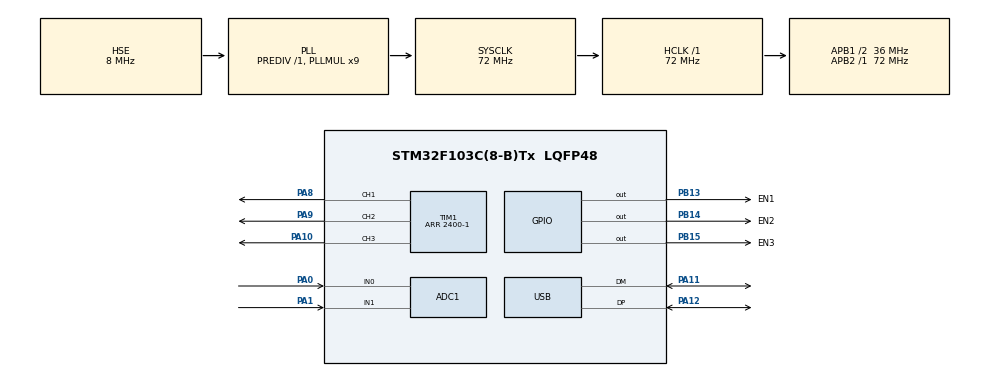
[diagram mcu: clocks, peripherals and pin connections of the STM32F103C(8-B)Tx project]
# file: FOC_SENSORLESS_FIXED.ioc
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ADC1.Channel-0\#ChannelRegularConversion=ADC_CHANNEL_0
ADC1.Channel-1\#ChannelRegularConversion=ADC_CHANNEL_1
ADC1.Channel-2\#ChannelRegularConversion=ADC_CHANNEL_VREFINT
ADC1.Channel-3\#ChannelInjectedConversion=ADC_CHANNEL_0
ADC1.Channel-5\#ChannelInjectedConversion=ADC_CHANNEL_1
ADC1.ContinuousConvMode=ENABLE
ADC1.EnableInjectedConversion=ENABLE
ADC1.ExternalTrigInjecConv=ADC_EXTERNALTRIGINJECCONV_T1_CC4
ADC1.InjNumberOfConversion=2
ADC1.InjectedConvMode=None
ADC1.InjectedOffset-3\#ChannelInjectedConversion=0
ADC1.InjectedOffset-5\#ChannelInjectedConversion=0
ADC1.InjectedRank-3\#ChannelInjectedConversion=1
ADC1.InjectedRank-5\#ChannelInjectedConversion=2
ADC1.NbrOfConversion=3
ADC1.NbrOfConversionFlag=1
ADC1.Rank-0\#ChannelRegularConversion=1
ADC1.Rank-1\#ChannelRegularConversion=2
ADC1.Rank-2\#ChannelRegularConversion=3
ADC1.SamplingTime-0\#ChannelRegularConversion=ADC_SAMPLETIME_41CYCLES_5
ADC1.SamplingTime-1\#ChannelRegularConversion=ADC_SAMPLETIME_41CYCLES_5
ADC1.SamplingTime-2\#ChannelRegularConversion=ADC_SAMPLETIME_41CYCLES_5
ADC1.SamplingTime-3\#ChannelInjectedConversion=ADC_SAMPLETIME_7CYCLES_5
ADC1.SamplingTime-5\#ChannelInjectedConversion=ADC_SAMPLETIME_7CYCLES_5
ADC1.master=1
Dma.ADC1.0.Direction=DMA_PERIPH_TO_MEMORY
Dma.ADC1.0.Instance=DMA1_Channel1
Dma.ADC1.0.MemDataAlignment=DMA_MDATAALIGN_HALFWORD
Dma.ADC1.0.MemInc=DMA_MINC_ENABLE
Dma.ADC1.0.Mode=DMA_NORMAL
Dma.ADC1.0.PeriphDataAlignment=DMA_PDATAALIGN_HALFWORD
Dma.ADC1.0.PeriphInc=DMA_PINC_DISABLE
Dma.ADC1.0.Priority=DMA_PRIORITY_LOW
Dma.Request0=ADC1
Mcu.Family=STM32F1
Mcu.Name=STM32F103C(8-B)Tx
Mcu.Package=LQFP48
NVIC.ADC1_2_IRQn=true\:0\:0\:false\:false\:true\:true\:true\:true
NVIC.DMA1_Channel1_IRQn=true\:1\:0\:true\:false\:true\:false\:true\:true
NVIC.PriorityGroup=NVIC_PRIORITYGROUP_4
NVIC.USB_LP_CAN1_RX0_IRQn=true\:1\:0\:true\:false\:true\:false\:true\:true
PA0-WKUP.Signal=ADCx_IN0
PA1.Signal=ADCx_IN1
PA10.Signal=S_TIM1_CH3
PA11.Mode=Device
PA11.Signal=USB_DM
PA12.Mode=Device
PA12.Signal=USB_DP
PA13.Mode=Serial_Wire
PA13.Signal=SYS_JTMS-SWDIO
PA14.Mode=Serial_Wire
PA14.Signal=SYS_JTCK-SWCLK
PA8.Signal=S_TIM1_CH1
PA9.Signal=S_TIM1_CH2
PB13.GPIO_Label=EN1
PB13.Signal=GPIO_Output
PB14.GPIO_Label=EN2
PB14.Signal=GPIO_Output
PB15.GPIO_Label=EN3
PB15.Signal=GPIO_Output
PC14-OSC32_IN.Mode=LSE-External-Oscillator
PC14-OSC32_IN.Signal=RCC_OSC32_IN
PC15-OSC32_OUT.Mode=LSE-External-Oscillator
PC15-OSC32_OUT.Signal=RCC_OSC32_OUT
PD0-OSC_IN.Mode=HSE-External-Oscillator
PD0-OSC_IN.Signal=RCC_OSC_IN
PD1-OSC_OUT.Mode=HSE-External-Oscillator
PD1-OSC_OUT.Signal=RCC_OSC_OUT
ProjectManager.HeapSize=0x200
ProjectManager.StackSize=0x400
ProjectManager.TargetToolchain=CMake
RCC.ADCPresc=RCC_ADCPCLK2_DIV6
RCC.AHBFreq_Value=72000000
RCC.APB1CLKDivider=RCC_HCLK_DIV2
RCC.APB1Freq_Value=36000000
RCC.APB1TimFreq_Value=72000000
RCC.APB2Freq_Value=72000000
RCC.APB2TimFreq_Value=72000000
RCC.HCLKFreq_Value=72000000
RCC.PLLMUL=RCC_PLL_MUL9
RCC.SYSCLKFreq_VALUE=72000000
RCC.SYSCLKSource=RCC_SYSCLKSOURCE_PLLCLK
RCC.USBFreq_Value=48000000
RCC.USBPrescaler=RCC_USBCLKSOURCE_PLL_DIV1_5
SH.ADCx_IN0.0=ADC1_IN0,IN0
SH.ADCx_IN1.0=ADC1_IN1,IN1
SH.S_TIM1_CH1.0=TIM1_CH1,PWM Generation1 CH1
SH.S_TIM1_CH2.0=TIM1_CH2,PWM Generation2 CH2
SH.S_TIM1_CH3.0=TIM1_CH3,PWM Generation3 CH3
TIM1.AutoReloadPreload=TIM_AUTORELOAD_PRELOAD_DISABLE
TIM1.Channel-PWM\ Generation1\ CH1=TIM_CHANNEL_1
TIM1.Channel-PWM\ Generation2\ CH2=TIM_CHANNEL_2
TIM1.Channel-PWM\ Generation3\ CH3=TIM_CHANNEL_3
TIM1.Channel-PWM\ Generation4\ No\ Output=TIM_CHANNEL_4
TIM1.CounterMode=TIM_COUNTERMODE_CENTERALIGNED1
TIM1.OCFastMode_PWM-PWM\ Generation1\ CH1=TIM_OCFAST_ENABLE
TIM1.OCFastMode_PWM-PWM\ Generation2\ CH2=TIM_OCFAST_ENABLE
TIM1.OCFastMode_PWM-PWM\ Generation3\ CH3=TIM_OCFAST_ENABLE
TIM1.OCFastMode_PWM-PWM\ Generation4\ No\ Output=TIM_OCFAST_ENABLE
TIM1.OCMode_PWM-PWM\ Generation1\ CH1=TIM_OCMODE_PWM2
TIM1.OCMode_PWM-PWM\ Generation2\ CH2=TIM_OCMODE_PWM2
TIM1.OCMode_PWM-PWM\ Generation3\ CH3=TIM_OCMODE_PWM2
TIM1.OCPolarity_1=TIM_OCPOLARITY_HIGH
TIM1.OCPolarity_2=TIM_OCPOLARITY_HIGH
TIM1.OCPolarity_3=TIM_OCPOLARITY_HIGH
TIM1.Period=2400-1
TIM1.Pulse-PWM\ Generation4\ No\ Output=1
TIM1.RepetitionCounter=0
TIM1.TIM_MasterOutputTrigger=TIM_TRGO_RESET
USB_DEVICE.CLASS_NAME_FS=CDC
USB_DEVICE.VirtualMode=Cdc
USB_DEVICE.VirtualModeFS=Cdc_FS
VP_ADC1_Vref_Input.Mode=IN-Vrefint
VP_TIM1_VS_ClockSourceINT.Mode=Internal
VP_TIM1_VS_no_output4.Mode=PWM Generation4 No Output
VP_USB_DEVICE_VS_USB_DEVICE_CDC_FS.Mode=CDC_FS
board=custom

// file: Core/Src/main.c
/* USER CODE BEGIN Header */
/**
  ******************************************************************************
  * @file           : main.c
  * @brief          : Main program body
  ******************************************************************************
  * @attention
  *
  * Copyright (c) 2026 STMicroelectronics.
  * All rights reserved.
  *
  * This software is licensed under terms that can be found in the LICENSE file
  * in the root directory of this software component.
  * If no LICENSE file comes with this software, it is provided AS-IS.
  *
  ******************************************************************************
  */
/* USER CODE END Header */
#include "main.h"
#include "adc.h"
#include "dma.h"
#include "tim.h"
#include "usb_device.h"
#include "gpio.h"

/* USER CODE BEGIN Includes */
#include "usbd_cdc_if.h"
#include "PMSM_Control_Core/FluxObserver_PLL.h"
#include "PMSM_Control_Core/Hardware.h"
#include "PMSM_Control_Core/PI_Controller.h"
#include "PMSM_Control_Core/SVPWM.h"
#include "PMSM_Control_Core/User_Parameters.h"
/* USER CODE END Includes */

void SystemClock_Config(void);

int main(void)
{

  /* MCU Configuration--------------------------------------------------------*/

  /* Reset of all peripherals, Initializes the Flash interface and the Systick. */
  HAL_Init();

  /* Configure the system clock */
  SystemClock_Config();

  /* Initialize all configured peripherals */
  MX_GPIO_Init();
  MX_DMA_Init();
  MX_ADC1_Init();
  MX_TIM1_Init();
  MX_USB_DEVICE_Init();
  /* USER CODE BEGIN 2 */

  //如果想看IF启动的波形，可以加个10秒延时，这样子来得及插上USB口，打开VOFA的开关接收信息
  //HAL_Delay(10000);

  FluxObserver_init();
  //ADC单端输入校准
  __HAL_RCC_ADC1_CLK_ENABLE();
  if (HAL_ADCEx_Calibration_Start(&hadc1) != HAL_OK)Error_Handler();
  //离线Ia,Ib,Vcc偏置ADC值校正
  Offline_IabVcc_Adjust();
  //给定D轴电流为0(事实上自动初始化为0，不需要人为给定)
  Id_PIstate.Set=Q15_FromValue(0,I);
  // 启动 TIM1 计数器
  HAL_TIM_Base_Start(&htim1);
  //开启定时器,开启通道输出
  HAL_TIM_PWM_Start(&htim1, TIM_CHANNEL_1);
  HAL_TIM_PWM_Start(&htim1, TIM_CHANNEL_2);
  HAL_TIM_PWM_Start(&htim1, TIM_CHANNEL_3);
  //PWM第四通道只用于触发ADC
  HAL_TIM_PWM_Start(&htim1, TIM_CHANNEL_4);
  //设定一个输出为0矢量的占空比
  TIM1_Set_PWMCompare(1200,1200,1200);

  // EN引脚使能
  HAL_GPIO_WritePin(EN1_GPIO_Port,EN1_Pin,GPIO_PIN_SET);
  HAL_GPIO_WritePin(EN2_GPIO_Port,EN2_Pin,GPIO_PIN_SET);
  HAL_GPIO_WritePin(EN3_GPIO_Port,EN3_Pin,GPIO_PIN_SET);
  //给定初始电转速1000rad/s
  Speed_PIstate.Set=Q15_FromValue(1000,we);
  // 启动ADC注入通道
  HAL_ADCEx_InjectedStart_IT(&hadc1);
  /* USER CODE END 2 */

  /* Infinite loop */
  while (1)
  {

  }
}

void SystemClock_Config(void)
{
  RCC_OscInitTypeDef RCC_OscInitStruct = {0};
  RCC_ClkInitTypeDef RCC_ClkInitStruct = {0};
  RCC_PeriphCLKInitTypeDef PeriphClkInit = {0};

  /** Initializes the RCC Oscillators according to the specified parameters
  * in the RCC_OscInitTypeDef structure.
  */
  RCC_OscInitStruct.OscillatorType = RCC_OSCILLATORTYPE_HSE;
  RCC_OscInitStruct.HSEState = RCC_HSE_ON;
  RCC_OscInitStruct.HSEPredivValue = RCC_HSE_PREDIV_DIV1;
  RCC_OscInitStruct.HSIState = RCC_HSI_ON;
  RCC_OscInitStruct.PLL.PLLState = RCC_PLL_ON;
  RCC_OscInitStruct.PLL.PLLSource = RCC_PLLSOURCE_HSE;
  RCC_OscInitStruct.PLL.PLLMUL = RCC_PLL_MUL9;
  if (HAL_RCC_OscConfig(&RCC_OscInitStruct) != HAL_OK)
  {
    Error_Handler();
  }

  /** Initializes the CPU, AHB and APB buses clocks
  */
  RCC_ClkInitStruct.ClockType = RCC_CLOCKTYPE_HCLK|RCC_CLOCKTYPE_SYSCLK
                              |RCC_CLOCKTYPE_PCLK1|RCC_CLOCKTYPE_PCLK2;
  RCC_ClkInitStruct.SYSCLKSource = RCC_SYSCLKSOURCE_PLLCLK;
  RCC_ClkInitStruct.AHBCLKDivider = RCC_SYSCLK_DIV1;
  RCC_ClkInitStruct.APB1CLKDivider = RCC_HCLK_DIV2;
  RCC_ClkInitStruct.APB2CLKDivider = RCC_HCLK_DIV1;

  if (HAL_RCC_ClockConfig(&RCC_ClkInitStruct, FLASH_LATENCY_2) != HAL_OK)
  {
    Error_Handler();
  }
  PeriphClkInit.PeriphClockSelection = RCC_PERIPHCLK_ADC|RCC_PERIPHCLK_USB;
  PeriphClkInit.AdcClockSelection = RCC_ADCPCLK2_DIV6;
  PeriphClkInit.UsbClockSelection = RCC_USBCLKSOURCE_PLL_DIV1_5;
  if (HAL_RCCEx_PeriphCLKConfig(&PeriphClkInit) != HAL_OK)
  {
    Error_Handler();
  }
}

void Error_Handler(void)
{
  __disable_irq();
  while (1)
  {
  }
}
